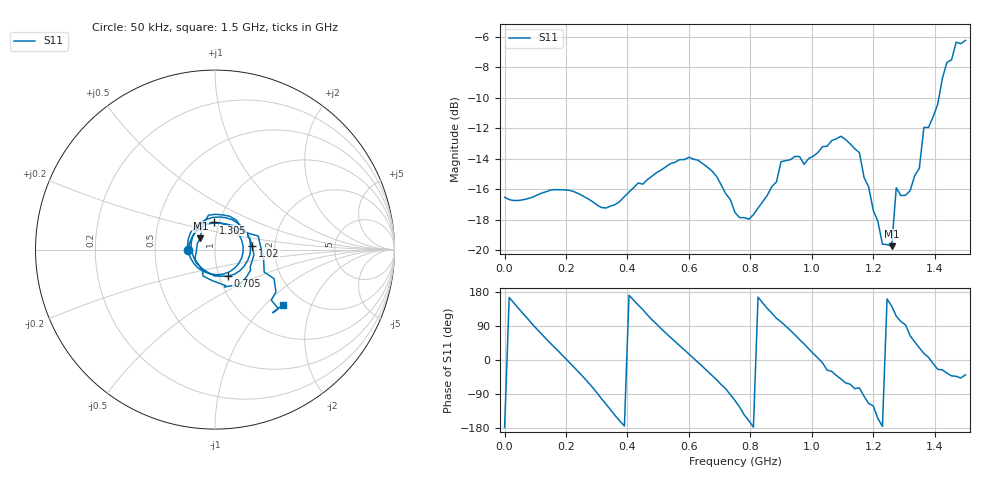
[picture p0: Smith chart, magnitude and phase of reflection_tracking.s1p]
! Created with skrf 1.8.0 (http://scikit-rf.org).
# Hz S RI R 50.0
!freq ReS11 ImS11
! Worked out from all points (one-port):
!   101 points, 50 kHz to 1.5 GHz, reference 50 ohm
!   lowest |S11| = -19.8 dB at 1.26 GHz (marker M1), VSWR 1.23, Z = 42.2 + j5.38 ohm
!   |S11| at or under -10 dB: start of sweep to 1.414 GHz
!   S11 on the Smith chart (normalised r, x): 50 kHz: 0.74, -0.01; 705 MHz: 1.10, -0.33; 1.02 GHz: 1.52, +0.06; 1.305 GHz: 0.94, +0.29; 1.5 GHz: 1.58, -1.28
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50000  -0.149 -0.00398
9.0047e7  -0.0127 0.1485
1.950435e8  0.1565 0.0185
2.850405e8  0.0468 -0.1366
3.750375e8  -0.1366 -0.0469
4.350355e8  -0.1361 0.0951
4.80034e8  -0.0481 0.168
5.70031e8  0.1569 0.121
6.30029e8  0.1958 -0.0229
7.050265e8  0.0698 -0.148
7.50025e8  -0.039 -0.1268
8.40022e8  -0.1255 0.0705
9.0002e8  -0.036 0.1917
9.450185e8  0.081 0.186
1.020016e9  0.2083 0.0188
1.050015e9  0.1959 -0.0985
1.125012e9  0.0981 -0.2006
1.155012e9  0.0588 -0.2002
1.21501e9  -0.112 -0.0537
1.230009e9  -0.1041 -0.00874
1.260008e9  -0.0813 0.0631
1.275008e9  -0.0691 0.1445
1.305006e9  -0.00717 0.151
1.320006e9  0.068 0.141
1.350005e9  0.1568 0.0993
1.365004e9  0.2413 0.0754
1.470001e9  0.3528 -0.3282
1.5e9  0.3788 -0.308
